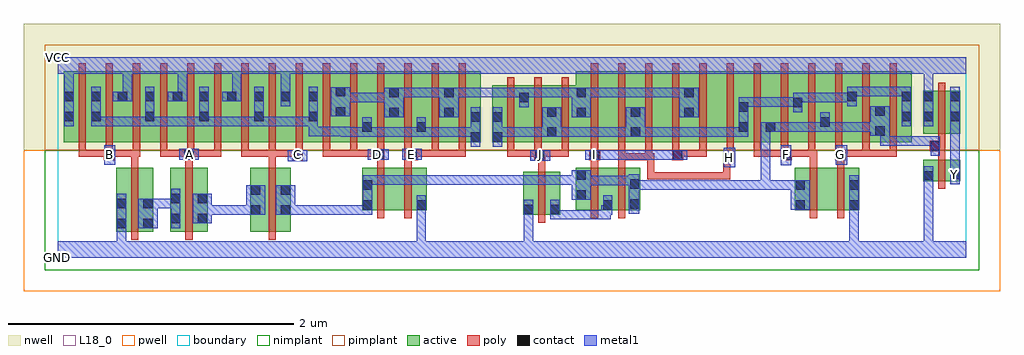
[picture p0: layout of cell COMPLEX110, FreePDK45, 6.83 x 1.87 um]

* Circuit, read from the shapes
.subckt COMPLEX110 A B C D E F G GND H I J VCC Y
M1 n1 B GND VSUBS nfet w=0.45u l=0.05u
M2 n2 A n1 VSUBS nfet w=0.45u l=0.05u
M3 n3 C n2 VSUBS nfet w=0.45u l=0.05u
M4 n4 D n3 VSUBS nfet w=0.3u l=0.05u
M5 GND E n4 VSUBS nfet w=0.3u l=0.05u
M6 n5 J GND VSUBS nfet w=0.3u l=0.05u
M7 n5 I n3 VSUBS nfet w=0.3u l=0.05u
M8 n3 H n5 VSUBS nfet w=0.3u l=0.05u
M9 n6 F n3 VSUBS nfet w=0.3u l=0.05u
M10 GND G n6 VSUBS nfet w=0.3u l=0.05u
M11 Y n3 GND VSUBS nfet w=0.15u l=0.05u
M12 n7 B VCC n8 pfet w=0.5u l=0.05u m=3
M13 VCC A n7 n8 pfet w=0.5u l=0.05u m=3
M14 n7 C VCC n8 pfet w=0.5u l=0.05u m=3
M15 n9 D n7 n8 pfet w=0.5u l=0.05u m=3
M16 n7 E n9 n8 pfet w=0.5u l=0.05u m=3
M17 n9 J n10 n8 pfet w=0.4u l=0.05u m=3
M18 n11 I n9 n8 pfet w=0.5u l=0.05u
M19 n10 H n11 n8 pfet w=0.5u l=0.05u
M20 n12 H n10 n8 pfet w=0.5u l=0.05u
M21 n9 I n12 n8 pfet w=0.5u l=0.05u
M22 n13 I n9 n8 pfet w=0.5u l=0.05u
M23 n10 H n13 n8 pfet w=0.5u l=0.05u
M24 n3 F n10 n8 pfet w=0.5u l=0.05u m=3
M25 n10 G n3 n8 pfet w=0.5u l=0.05u m=3
M26 Y n3 VCC n8 pfet w=0.3u l=0.05u
.ends

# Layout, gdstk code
import gdstk
lib = gdstk.Library(unit=1e-6, precision=1e-09)
def R(c, l, rs):  # rectangles x0, y0, x1, y1
    for r in rs: c.add(gdstk.rectangle(r[:2], r[2:], *l))
def A(c, l, x, y, w, h, nx, ny, dx, dy):  # array of equal rectangles
    R(c, l, [(x+i*dx, y+j*dy, x+i*dx+w, y+j*dy+h) for i in range(nx) for j in range(ny)])
active = (1, 0)
pwell = (2, 0)
nwell = (3, 0)
nimplant = (4, 0)
pimplant = (5, 0)
poly = (9, 0)
contact = (10, 0)
metal1 = (11, 0)
L18_0 = (18, 0)
boundary = (235, 0)

complex110 = lib.new_cell('COMPLEX110')
A(complex110, active, 0.232, 0.805, 0.26, 0.5, 4, 1, 0.57, 0)
A(complex110, active, 2.127, 0.805, 0.075, 0.265, 3, 1, 0.38, 0)
A(complex110, active, 4.382, 0.805, 0.075, 0.395, 5, 1, 0.38, 0)
A(complex110, active, 4.762, 0.805, 0.265, 0.5, 4, 1, 0.19, 0)
R(complex110, active, [(0.41,0.18,0.67,0.63), (0.41,0.18,0.485,0.63), (0.79,0.18,1.05,0.63), (1.35,0.18,1.632,0.63), (0.595,0.2,0.67,0.63), (0.79,0.2,0.865,0.63), (0.975,0.2,1.05,0.63), (1.35,0.2,1.425,0.63), (1.557,0.2,1.632,0.63), (3.257,0.3,3.517,0.6), (3.257,0.3,3.332,0.392), (3.442,0.3,3.517,0.392), (2.132,0.33,2.207,0.63), (2.132,0.33,2.357,0.63), (2.357,0.33,2.582,0.63), (2.507,0.33,2.582,0.497), (3.627,0.33,3.887,0.63), (3.812,0.33,4.077,0.63), (3.812,0.33,3.887,0.497), (4.002,0.33,4.077,0.63), (5.16,0.33,5.235,0.63), (5.16,0.33,5.385,0.63), (5.385,0.33,5.61,0.63), (5.535,0.33,5.61,0.63), (3.627,0.332,3.702,0.63), (6.057,0.535,6.317,0.685), (6.057,0.535,6.132,0.685), (6.242,0.542,6.317,0.685), (0.042,0.805,0.307,1.305), (0.042,0.805,0.117,1.305), (0.232,0.805,0.307,1.2), (0.417,0.805,0.682,1.305), (0.417,0.805,0.492,1.305), (0.607,0.805,0.682,1.2), (0.607,0.805,0.877,1.305), (0.987,0.805,1.062,1.2), (0.987,0.805,1.257,1.305), (1.182,0.805,1.447,1.305), (1.182,0.805,1.257,1.305), (1.372,0.805,1.447,1.2), (1.557,0.805,1.827,1.305), (1.557,0.805,1.632,1.305), (1.752,0.805,1.827,1.2), (1.752,0.805,2.017,1.305), (1.942,0.805,2.017,1.2), (2.127,0.805,2.392,1.305), (2.317,0.805,2.392,1.2), (2.317,0.805,2.582,1.305), (2.507,0.805,2.777,1.305), (2.702,0.805,2.777,1.2), (2.702,0.805,2.962,1.305), (3.042,0.805,3.117,1.07), (3.042,0.805,3.302,1.205), (3.227,0.805,3.302,1.2), (3.227,0.805,3.495,1.205), (3.42,0.805,3.495,1.07), (3.42,0.805,3.702,1.205), (3.627,0.805,3.852,1.305), (3.852,0.805,4.082,1.305), (4.007,0.805,4.082,1.07), (4.007,0.805,4.232,1.305), (4.232,0.805,4.457,1.305), (4.382,0.805,4.612,1.305), (4.612,0.805,4.837,1.305), (4.952,0.805,5.027,1.07), (5.332,0.805,5.407,1.07), (5.522,0.805,5.792,1.305), (5.717,0.805,5.977,1.305), (5.717,0.805,5.792,1.07), (0.802,0.807,0.877,1.305), (6.057,0.867,6.132,1.167), (6.057,0.867,6.317,1.167), (6.242,0.867,6.317,1.165), (3.627,0.907,3.702,1.2)])
R(complex110, pwell, [(-0.235,-0.235,6.595,0.75)])
R(complex110, nwell, [(-0.235,0.75,6.595,1.635)])
R(complex110, nimplant, [(-0.09,-0.09,6.45,0.75)])
R(complex110, pimplant, [(-0.09,0.75,6.45,1.49)])
A(complex110, poly, 0.147, 0.705, 0.05, 0.095, 15, 1, 0.19, 0)
A(complex110, poly, 0.907, 0.705, 0.05, 0.05, 3, 1, 0.19, 0)
A(complex110, poly, 3.147, 0.705, 0.05, 0.095, 3, 1, 0.19, 0)
A(complex110, poly, 4.872, 0.705, 0.05, 0.095, 6, 1, 0.19, 0)
A(complex110, poly, 0.147, 0.75, 0.05, 0.61, 15, 1, 0.19, 0)
A(complex110, poly, 3.147, 0.75, 0.05, 0.51, 3, 1, 0.19, 0)
A(complex110, poly, 3.732, 0.75, 0.05, 0.61, 12, 1, 0.19, 0)
R(complex110, poly, [(0.515,0.125,0.565,0.685), (0.895,0.125,0.945,0.685), (1.477,0.125,1.527,0.685), (3.362,0.245,3.412,0.655), (2.237,0.275,2.287,0.685), (2.427,0.275,2.477,0.685), (3.732,0.275,3.782,0.685), (3.922,0.275,3.972,0.685), (5.265,0.275,5.315,0.685), (5.455,0.275,5.505,0.685), (6.162,0.48,6.212,0.74), (4.127,0.547,4.177,0.597), (4.127,0.547,4.177,0.597), (4.127,0.547,4.177,0.597), (4.127,0.547,4.177,0.597), (4.127,0.547,4.177,0.597), (4.127,0.547,4.312,0.597), (4.127,0.547,4.177,0.73), (4.262,0.547,4.312,0.597), (4.262,0.547,4.522,0.597), (4.472,0.547,4.522,0.597), (4.472,0.547,4.522,0.597), (4.472,0.547,4.522,0.597), (4.472,0.547,4.707,0.597), (4.657,0.547,4.707,0.597), (4.657,0.547,4.707,0.597), (4.657,0.547,4.707,0.597), (4.657,0.547,4.707,0.712), (3.362,0.605,3.412,0.73), (0.515,0.635,0.565,0.755), (0.895,0.635,0.945,0.73), (1.477,0.635,1.527,0.755), (2.237,0.635,2.287,0.73), (2.427,0.635,2.477,0.73), (3.732,0.635,3.782,0.73), (3.922,0.635,3.972,0.73), (5.265,0.635,5.315,0.755), (5.455,0.635,5.505,0.73), (4.657,0.662,4.707,0.712), (4.657,0.662,4.707,0.712), (4.657,0.662,4.732,0.737), (0.322,0.68,0.397,0.755), (0.882,0.68,0.957,0.755), (1.642,0.68,1.717,0.755), (2.212,0.68,2.287,0.755), (2.427,0.68,2.52,0.755), (3.337,0.68,3.412,0.755), (3.722,0.68,3.797,0.755), (3.922,0.68,4.162,0.73), (3.922,0.68,3.972,0.73), (3.922,0.68,3.972,0.73), (3.922,0.68,3.972,0.73), (3.922,0.68,3.972,0.8), (4.112,0.68,4.162,0.8), (4.112,0.68,4.177,0.73), (4.302,0.68,4.377,0.755), (5.062,0.68,5.137,0.755), (5.442,0.68,5.517,0.755), (4.682,0.687,4.732,0.8), (6.162,0.69,6.212,0.792), (0.147,0.705,0.197,0.755), (0.147,0.705,0.372,0.755), (0.322,0.705,0.372,0.755), (0.322,0.705,0.372,0.755), (0.347,0.705,0.565,0.755), (0.515,0.705,0.565,0.755), (0.515,0.705,0.565,0.755), (0.515,0.705,0.577,0.755), (0.717,0.705,0.767,0.755), (0.717,0.705,0.767,0.755), (0.717,0.705,0.767,0.755), (0.717,0.705,0.932,0.755), (0.907,0.705,1.147,0.755), (0.907,0.705,0.957,0.755), (1.287,0.705,1.527,0.755), (1.287,0.705,1.337,0.755), (1.287,0.705,1.337,0.755), (1.477,0.705,1.527,0.755), (1.477,0.705,1.527,0.755), (1.477,0.705,1.527,0.755), (1.477,0.705,1.692,0.755), (1.857,0.705,2.097,0.755), (1.857,0.705,1.907,0.755), (1.857,0.705,1.907,0.755), (1.857,0.705,1.907,0.755), (2.047,0.705,2.097,0.755), (2.047,0.705,2.262,0.755), (2.212,0.705,2.262,0.755), (2.212,0.705,2.262,0.755), (2.47,0.705,2.52,0.755), (2.47,0.705,2.52,0.755), (2.47,0.705,2.667,0.755), (2.617,0.705,2.857,0.755), (2.617,0.705,2.667,0.755), (2.617,0.705,2.667,0.755), (2.617,0.705,2.667,0.755), (2.807,0.705,2.857,0.755), (3.147,0.705,3.387,0.755), (3.147,0.705,3.197,0.755), (3.337,0.705,3.387,0.755), (3.337,0.705,3.387,0.755), (3.362,0.705,3.577,0.755), (3.527,0.705,3.577,0.755), (3.527,0.705,3.577,0.755), (3.527,0.705,3.577,0.755), (3.732,0.705,3.782,0.8), (4.302,0.705,4.352,0.8), (4.327,0.705,4.377,0.755), (4.327,0.705,4.377,0.755), (4.327,0.705,4.542,0.755), (4.492,0.705,4.542,0.8), (4.492,0.705,4.542,0.755), (4.872,0.705,5.112,0.755), (4.872,0.705,4.922,0.755), (4.872,0.705,4.922,0.755), (4.872,0.705,4.922,0.755), (5.087,0.705,5.302,0.755), (5.252,0.705,5.302,0.755), (5.252,0.705,5.302,0.755), (5.252,0.705,5.315,0.755), (5.467,0.705,5.517,0.755), (5.467,0.705,5.517,0.755), (5.467,0.705,5.682,0.755), (5.632,0.705,5.872,0.755), (5.632,0.705,5.682,0.755), (5.632,0.705,5.682,0.755), (5.632,0.705,5.682,0.755), (5.822,0.705,5.872,0.755), (6.105,0.742,6.212,0.817), (6.162,0.767,6.212,0.862), (6.162,0.812,6.212,1.222)])
R(complex110, contact, [(0.415,0.205,0.48,0.27), (0.6,0.205,0.665,0.27), (0.795,0.24,0.86,0.305), (0.98,0.24,1.045,0.305), (1.355,0.3,1.42,0.365), (1.562,0.3,1.627,0.365), (3.262,0.305,3.327,0.37), (3.447,0.305,3.512,0.37), (2.137,0.335,2.202,0.4), (2.512,0.335,2.577,0.4), (3.817,0.335,3.882,0.4), (5.165,0.335,5.23,0.4), (5.54,0.335,5.605,0.4), (4.007,0.342,4.072,0.407), (0.415,0.345,0.48,0.41), (0.6,0.345,0.665,0.41), (0.795,0.38,0.86,0.445), (0.98,0.38,1.045,0.445), (3.632,0.405,3.697,0.47), (1.355,0.44,1.42,0.505), (1.562,0.44,1.627,0.505), (2.137,0.475,2.202,0.54), (5.165,0.475,5.23,0.54), (5.54,0.475,5.605,0.54), (4.007,0.482,4.072,0.547), (6.062,0.54,6.127,0.605), (3.632,0.545,3.697,0.61), (6.247,0.547,6.312,0.612), (4.662,0.667,4.727,0.732), (0.327,0.685,0.392,0.75), (0.887,0.685,0.952,0.75), (1.647,0.685,1.712,0.75), (2.217,0.685,2.282,0.75), (2.447,0.685,2.512,0.75), (3.342,0.685,3.407,0.75), (3.727,0.685,3.792,0.75), (4.307,0.685,4.372,0.75), (5.067,0.685,5.132,0.75), (5.447,0.685,5.512,0.75), (6.11,0.747,6.175,0.812), (2.892,0.81,2.957,0.875), (3.047,0.81,3.112,0.875), (3.425,0.845,3.49,0.91), (4.012,0.845,4.077,0.91), (5.722,0.852,5.787,0.917), (2.132,0.88,2.197,0.945), (2.512,0.88,2.577,0.945), (4.767,0.88,4.832,0.945), (4.957,0.88,5.022,0.945), (5.337,0.915,5.402,0.98), (2.892,0.95,2.957,1.015), (3.047,0.95,3.112,1.015), (0.047,0.955,0.112,1.02), (0.237,0.955,0.302,1.02), (0.612,0.955,0.677,1.02), (0.992,0.955,1.057,1.02), (1.377,0.955,1.442,1.02), (1.757,0.955,1.822,1.02), (5.907,0.955,5.972,1.02), (6.062,0.955,6.127,1.02), (6.247,0.955,6.312,1.02), (2.322,0.982,2.387,1.047), (2.707,0.982,2.772,1.047), (3.632,0.982,3.697,1.047), (4.387,0.982,4.452,1.047), (3.425,0.985,3.49,1.05), (4.012,0.985,4.077,1.05), (1.947,0.987,2.012,1.052), (5.722,0.992,5.787,1.057), (4.767,1.02,4.832,1.085), (5.147,1.052,5.212,1.117), (3.232,1.087,3.297,1.152), (0.047,1.095,0.112,1.16), (0.237,1.095,0.302,1.16), (0.422,1.095,0.487,1.16), (0.612,1.095,0.677,1.16), (0.807,1.095,0.872,1.16), (0.992,1.095,1.057,1.16), (1.187,1.095,1.252,1.16), (1.377,1.095,1.442,1.16), (1.562,1.095,1.627,1.16), (1.757,1.095,1.822,1.16), (5.527,1.095,5.592,1.16), (5.907,1.095,5.972,1.16), (6.062,1.095,6.127,1.16), (6.247,1.095,6.312,1.16), (2.322,1.122,2.387,1.187), (2.707,1.122,2.772,1.187), (3.632,1.122,3.697,1.187), (4.387,1.122,4.452,1.187), (1.947,1.127,2.012,1.192)])
R(complex110, metal1, [(0,0,6.36,0.115), (0.415,0.05,0.48,0.235), (2.512,0.05,2.577,0.115), (2.512,0.05,2.577,0.115), (2.512,0.05,2.577,0.115), (2.512,0.05,2.577,0.115), (2.512,0.05,2.577,0.365), (3.262,0.05,3.327,0.115), (3.262,0.05,3.327,0.115), (3.262,0.05,3.327,0.115), (3.262,0.05,3.327,0.115), (3.262,0.05,3.327,0.335), (5.54,0.05,5.605,0.365), (6.062,0.05,6.127,0.115), (6.062,0.05,6.127,0.115), (6.062,0.05,6.127,0.57), (0.415,0.17,0.48,0.445), (0.415,0.17,0.48,0.235), (0.415,0.17,0.48,0.235), (0.565,0.205,0.7,0.41), (0.795,0.205,0.86,0.48), (0.945,0.24,1.08,0.445), (3.447,0.267,3.512,0.332), (3.447,0.267,3.512,0.332), (3.447,0.267,3.732,0.332), (3.447,0.267,3.512,0.405), (3.667,0.267,3.732,0.332), (3.667,0.267,3.87,0.332), (3.805,0.267,3.87,0.365), (3.262,0.27,3.327,0.405), (1.015,0.3,1.08,0.365), (1.015,0.3,1.08,0.365), (1.015,0.3,1.247,0.365), (1.182,0.3,1.247,0.365), (1.182,0.3,1.247,0.365), (1.182,0.3,1.247,0.365), (1.182,0.3,1.385,0.365), (1.32,0.3,1.455,0.505), (1.527,0.3,1.662,0.505), (1.597,0.3,1.662,0.365), (1.597,0.3,1.662,0.365), (1.597,0.3,1.8,0.365), (1.735,0.3,1.8,0.365), (1.735,0.3,1.8,0.365), (1.735,0.3,1.8,0.365), (1.735,0.3,1.965,0.365), (1.9,0.3,1.965,0.365), (1.9,0.3,1.965,0.365), (1.9,0.3,1.965,0.365), (1.9,0.3,2.202,0.365), (2.137,0.3,2.202,0.575), (2.512,0.3,2.577,0.435), (3.805,0.3,3.882,0.365), (3.817,0.3,3.882,0.435), (5.54,0.3,5.605,0.575), (5.54,0.3,5.605,0.365), (5.54,0.3,5.605,0.365), (5.54,0.3,5.605,0.365), (5.54,0.3,5.605,0.365), (3.997,0.307,4.072,0.582), (5.13,0.335,5.265,0.54), (0.635,0.345,0.7,0.41), (0.635,0.345,0.7,0.41), (0.635,0.345,0.86,0.41), (3.597,0.405,3.732,0.61), (4.007,0.475,4.2,0.54), (4.135,0.475,4.2,0.54), (4.135,0.475,4.28,0.54), (4.215,0.475,4.28,0.54), (4.215,0.475,4.337,0.54), (4.272,0.475,4.337,0.54), (4.272,0.475,4.475,0.54), (4.41,0.475,4.475,0.54), (4.41,0.475,4.475,0.54), (4.41,0.475,4.475,0.54), (4.41,0.475,4.695,0.54), (4.63,0.475,4.695,0.54), (4.63,0.475,4.695,0.54), (4.63,0.475,4.695,0.54), (4.63,0.475,4.832,0.54), (4.767,0.475,4.832,0.54), (4.767,0.475,4.832,0.54), (4.767,0.475,4.832,0.54), (4.767,0.475,4.987,0.54), (4.922,0.475,4.987,0.54), (4.922,0.475,4.987,0.54), (4.922,0.475,4.987,0.54), (4.922,0.475,4.987,0.54), (4.922,0.475,4.987,0.54), (4.922,0.475,4.987,0.54), (4.922,0.475,4.987,0.54), (4.922,0.475,5.195,0.54), (4.922,0.475,4.987,0.945), (6.062,0.505,6.127,0.57), (6.062,0.505,6.127,0.57), (6.062,0.505,6.127,0.57), (6.062,0.505,6.127,0.57), (6.062,0.505,6.127,0.64), (3.667,0.507,3.732,0.572), (3.667,0.507,3.732,0.572), (3.667,0.507,3.87,0.572), (3.805,0.507,3.87,0.572), (3.805,0.507,4.062,0.572), (3.997,0.507,4.062,0.572), (3.997,0.507,4.062,0.572), (2.137,0.51,2.202,0.575), (2.137,0.51,2.202,0.575), (2.137,0.51,2.422,0.575), (2.357,0.51,2.422,0.575), (2.357,0.51,2.422,0.575), (2.357,0.51,2.422,0.575), (2.357,0.51,2.56,0.575), (2.495,0.51,2.56,0.575), (2.495,0.51,2.807,0.575), (2.742,0.51,2.807,0.575), (2.742,0.51,2.807,0.575), (2.742,0.51,2.807,0.575), (2.742,0.51,2.807,0.575), (2.742,0.51,2.807,0.575), (2.742,0.51,2.945,0.575), (2.88,0.51,2.945,0.575), (2.88,0.51,2.945,0.575), (2.88,0.51,2.945,0.575), (2.88,0.51,3.16,0.575), (3.095,0.51,3.16,0.575), (3.095,0.51,3.16,0.575), (3.095,0.51,3.16,0.575), (3.095,0.51,3.317,0.575), (3.252,0.51,3.317,0.575), (3.252,0.51,3.317,0.575), (3.252,0.51,3.317,0.575), (3.252,0.51,3.525,0.575), (3.46,0.51,3.525,0.575), (3.46,0.51,3.525,0.575), (3.46,0.51,3.525,0.575), (3.46,0.51,3.662,0.575), (6.247,0.512,6.312,0.647), (6.247,0.582,6.312,0.985), (6.247,0.582,6.312,0.647), (6.247,0.582,6.312,0.647), (4.662,0.632,4.742,0.767), (5.06,0.647,5.135,0.787), (0.325,0.65,0.402,0.787), (5.447,0.65,5.525,0.787), (1.612,0.675,1.747,0.752), (3.307,0.677,3.447,0.752), (0.852,0.685,0.987,0.762), (2.172,0.685,2.317,0.757), (2.412,0.685,2.547,0.762), (3.692,0.685,3.827,0.752), (3.762,0.685,3.87,0.75), (3.805,0.685,3.87,0.75), (3.805,0.685,4.007,0.75), (3.942,0.685,4.007,0.75), (3.942,0.685,4.007,0.75), (3.942,0.685,4.007,0.75), (3.942,0.685,4.2,0.75), (4.135,0.685,4.2,0.75), (4.135,0.685,4.28,0.75), (4.215,0.685,4.28,0.75), (4.215,0.685,4.337,0.75), (4.272,0.685,4.407,0.75), (6.11,0.712,6.175,0.847), (2.892,0.775,2.957,1.05), (3.047,0.775,3.112,1.05), (5.757,0.782,5.822,0.847), (5.757,0.782,5.822,0.917), (5.757,0.782,5.99,0.847), (5.925,0.782,5.99,0.847), (5.925,0.782,5.99,0.847), (5.925,0.782,5.99,0.847), (5.925,0.782,6.175,0.847), (6.11,0.782,6.175,0.847), (6.11,0.782,6.175,0.847), (1.982,0.845,2.047,0.91), (1.982,0.845,2.047,0.91), (1.982,0.845,2.197,0.91), (1.982,0.845,2.047,0.915), (2.132,0.845,2.197,0.91), (2.132,0.845,2.197,0.91), (2.132,0.845,2.197,0.98), (2.132,0.845,2.422,0.91), (2.357,0.845,2.422,0.91), (2.357,0.845,2.577,0.91), (2.512,0.845,2.577,0.91), (2.512,0.845,2.577,0.91), (2.512,0.845,2.577,0.98), (2.512,0.845,2.807,0.91), (2.742,0.845,2.807,0.91), (2.742,0.845,2.807,0.91), (2.742,0.845,2.807,0.91), (2.742,0.845,2.957,0.91), (2.892,0.845,2.957,0.91), (2.892,0.845,2.957,0.91), (3.047,0.845,3.112,0.91), (3.047,0.845,3.112,0.91), (3.047,0.845,3.297,0.91), (3.232,0.845,3.297,0.91), (3.232,0.845,3.297,0.91), (3.232,0.845,3.297,0.91), (3.232,0.845,3.455,0.91), (3.39,0.845,3.525,1.05), (3.46,0.845,3.525,0.91), (3.46,0.845,3.525,0.91), (3.46,0.845,3.732,0.91), (3.667,0.845,3.732,0.91), (3.667,0.845,3.732,0.91), (3.667,0.845,3.732,0.91), (3.667,0.845,3.87,0.91), (3.805,0.845,3.87,0.91), (3.805,0.845,4.042,0.91), (3.977,0.845,4.042,0.91), (3.977,0.845,4.042,0.91), (3.977,0.845,4.112,1.05), (4.047,0.845,4.2,0.91), (4.135,0.845,4.2,0.91), (4.135,0.845,4.28,0.91), (4.215,0.845,4.28,0.91), (4.215,0.845,4.337,0.91), (4.272,0.845,4.337,0.91), (4.272,0.845,4.557,0.91), (4.492,0.845,4.557,0.91), (4.492,0.845,4.557,0.91), (4.492,0.845,4.557,0.91), (4.492,0.845,4.695,0.91), (4.63,0.845,4.695,0.91), (4.63,0.845,4.695,0.91), (4.63,0.845,4.695,0.91), (4.63,0.845,4.832,0.91), (4.767,0.845,4.832,1.12), (1.757,0.85,1.822,0.915), (1.757,0.85,1.822,0.915), (1.757,0.85,1.822,0.915), (1.757,0.85,1.822,0.985), (1.757,0.85,2.047,0.915), (5.687,0.852,5.822,1.057), (4.922,0.88,5.057,0.945), (4.992,0.88,5.237,0.945), (5.172,0.88,5.237,0.945), (5.172,0.88,5.237,0.945), (5.172,0.88,5.237,0.945), (5.172,0.88,5.375,0.945), (5.31,0.88,5.375,0.945), (5.31,0.88,5.402,0.945), (5.337,0.88,5.402,1.015), (5.337,0.88,5.602,0.945), (5.537,0.88,5.602,0.945), (5.537,0.88,5.602,0.945), (5.537,0.88,5.602,0.945), (5.537,0.88,5.752,0.945), (5.687,0.88,5.752,0.945), (5.687,0.88,5.752,0.945), (0.047,0.92,0.112,1.195), (0.237,0.92,0.302,1.195), (0.237,0.92,0.302,0.985), (0.237,0.92,0.302,0.985), (0.237,0.92,0.44,0.985), (0.375,0.92,0.44,0.985), (0.375,0.92,0.44,0.985), (0.375,0.92,0.44,0.985), (0.375,0.92,0.677,0.985), (0.612,0.92,0.677,1.195), (0.612,0.92,0.677,0.985), (0.612,0.92,0.677,0.985), (0.612,0.92,0.837,0.985), (0.772,0.92,0.837,0.985), (0.772,0.92,0.837,0.985), (0.772,0.92,0.837,0.985), (0.772,0.92,1.057,0.985), (0.992,0.92,1.057,1.195), (0.992,0.92,1.057,0.985), (0.992,0.92,1.057,0.985), (0.992,0.92,1.247,0.985), (1.182,0.92,1.247,0.985), (1.182,0.92,1.247,0.985), (1.182,0.92,1.247,0.985), (1.182,0.92,1.442,0.985), (1.377,0.92,1.442,1.195), (1.377,0.92,1.442,0.985), (1.377,0.92,1.442,0.985), (1.377,0.92,1.592,0.985), (1.527,0.92,1.592,0.985), (1.527,0.92,1.592,0.985), (1.527,0.92,1.592,0.985), (1.527,0.92,1.822,0.985), (1.757,0.92,1.822,1.195), (5.907,0.92,5.972,1.195), (6.062,0.92,6.127,1.195), (6.247,0.92,6.312,1.195), (2.287,0.982,2.422,1.187), (2.672,0.982,2.807,1.187), (3.597,0.982,3.732,1.187), (4.352,0.982,4.487,1.187), (1.912,0.987,2.047,1.192), (5.147,1.017,5.212,1.152), (3.232,1.052,3.297,1.187), (4.767,1.055,4.832,1.12), (4.767,1.055,4.832,1.12), (4.767,1.055,4.832,1.12), (4.767,1.055,4.832,1.12), (4.767,1.055,4.97,1.12), (4.905,1.055,4.97,1.12), (4.905,1.055,5.212,1.12), (5.147,1.055,5.212,1.12), (5.147,1.055,5.212,1.12), (1.562,1.06,1.627,1.195), (5.527,1.06,5.592,1.195), (1.982,1.087,2.047,1.152), (1.982,1.087,2.047,1.152), (1.982,1.087,2.202,1.152), (2.137,1.087,2.202,1.152), (2.137,1.087,2.202,1.152), (2.137,1.087,2.202,1.152), (2.137,1.087,2.352,1.152), (5.147,1.087,5.375,1.152), (5.31,1.087,5.375,1.152), (5.31,1.087,5.375,1.152), (5.31,1.087,5.375,1.152), (5.31,1.087,5.592,1.152), (5.527,1.087,5.592,1.152), (5.527,1.087,5.592,1.152), (0.387,1.095,0.522,1.16), (0.457,1.095,0.522,1.35), (0.772,1.095,0.907,1.16), (0.842,1.095,0.907,1.35), (1.152,1.095,1.287,1.16), (1.222,1.095,1.287,1.35), (2.357,1.122,2.422,1.187), (2.357,1.122,2.422,1.187), (2.357,1.122,2.6,1.187), (2.535,1.122,2.6,1.187), (2.535,1.122,2.737,1.187), (2.672,1.122,2.737,1.187), (2.672,1.122,2.737,1.187), (2.742,1.122,2.945,1.187), (2.88,1.122,2.945,1.187), (2.88,1.122,2.945,1.187), (2.88,1.122,2.945,1.187), (2.88,1.122,3.16,1.187), (3.095,1.122,3.16,1.187), (3.095,1.122,3.16,1.187), (3.095,1.122,3.16,1.187), (3.095,1.122,3.297,1.187), (3.232,1.122,3.297,1.187), (3.232,1.122,3.297,1.187), (3.232,1.122,3.525,1.187), (3.46,1.122,3.525,1.187), (3.46,1.122,3.525,1.187), (3.46,1.122,3.525,1.187), (3.46,1.122,3.662,1.187), (3.667,1.122,3.87,1.187), (3.805,1.122,3.87,1.187), (3.805,1.122,3.87,1.187), (3.805,1.122,3.87,1.187), (3.805,1.122,4.007,1.187), (3.942,1.122,4.007,1.187), (3.942,1.122,4.007,1.187), (3.942,1.122,4.007,1.187), (3.942,1.122,4.2,1.187), (4.135,1.122,4.2,1.187), (4.135,1.122,4.28,1.187), (4.215,1.122,4.28,1.187), (4.215,1.122,4.337,1.187), (4.272,1.122,4.337,1.187), (4.272,1.122,4.417,1.187), (0.047,1.13,0.112,1.35), (1.562,1.13,1.627,1.35), (5.527,1.13,5.592,1.195), (5.527,1.13,5.592,1.195), (5.527,1.13,5.74,1.195), (5.675,1.13,5.74,1.195), (5.675,1.13,5.74,1.195), (5.675,1.13,5.74,1.195), (5.675,1.13,5.972,1.195), (5.907,1.13,5.972,1.195), (5.907,1.13,5.972,1.195), (6.062,1.13,6.127,1.195), (6.062,1.13,6.127,1.195), (6.062,1.13,6.127,1.35), (0,1.285,6.36,1.4)])
R(complex110, L18_0, [(0,0,6.36,0.115), (0.415,0.05,0.48,0.235), (2.512,0.05,2.577,0.115), (2.512,0.05,2.577,0.115), (2.512,0.05,2.577,0.115), (2.512,0.05,2.577,0.115), (2.512,0.05,2.577,0.365), (3.262,0.05,3.327,0.115), (3.262,0.05,3.327,0.115), (3.262,0.05,3.327,0.115), (3.262,0.05,3.327,0.115), (3.262,0.05,3.327,0.335), (5.54,0.05,5.605,0.365), (6.062,0.05,6.127,0.115), (6.062,0.05,6.127,0.115), (6.062,0.05,6.127,0.57), (0.415,0.17,0.48,0.445), (0.415,0.17,0.48,0.235), (0.415,0.17,0.48,0.235), (3.262,0.27,3.327,0.405), (2.512,0.3,2.577,0.435), (5.54,0.3,5.605,0.575), (5.54,0.3,5.605,0.365), (5.54,0.3,5.605,0.365), (5.54,0.3,5.605,0.365), (5.54,0.3,5.605,0.365), (6.062,0.505,6.127,0.57), (6.062,0.505,6.127,0.57), (6.062,0.505,6.127,0.57), (6.062,0.505,6.127,0.57), (6.062,0.505,6.127,0.64), (6.247,0.512,6.312,0.647), (6.247,0.547,6.312,0.612), (6.247,0.582,6.312,0.647), (6.247,0.582,6.312,0.647), (6.247,0.582,6.312,0.985), (4.662,0.632,4.742,0.767), (5.06,0.647,5.135,0.787), (0.325,0.65,0.402,0.787), (5.447,0.65,5.525,0.787), (4.667,0.667,4.732,0.732), (1.612,0.675,1.747,0.752), (3.307,0.677,3.447,0.752), (0.852,0.685,0.987,0.762), (2.172,0.685,2.317,0.757), (2.412,0.685,2.547,0.762), (3.692,0.685,3.827,0.752), (3.762,0.685,3.87,0.75), (3.805,0.685,3.87,0.75), (3.805,0.685,4.007,0.75), (3.942,0.685,4.007,0.75), (3.942,0.685,4.007,0.75), (3.942,0.685,4.007,0.75), (3.942,0.685,4.2,0.75), (4.135,0.685,4.2,0.75), (4.135,0.685,4.28,0.75), (4.215,0.685,4.28,0.75), (4.215,0.685,4.337,0.75), (4.272,0.685,4.407,0.75), (0.327,0.687,0.392,0.752), (0.887,0.687,0.952,0.752), (1.647,0.687,1.712,0.752), (2.207,0.687,2.272,0.752), (2.447,0.687,2.512,0.752), (3.347,0.687,3.412,0.752), (3.727,0.687,3.792,0.752), (5.067,0.687,5.132,0.752), (5.447,0.687,5.512,0.752), (0.047,0.92,0.112,1.195), (6.062,0.92,6.127,1.195), (6.247,0.92,6.312,1.195), (1.562,1.06,1.627,1.195), (0.387,1.095,0.522,1.16), (0.457,1.095,0.522,1.35), (0.772,1.095,0.907,1.16), (0.842,1.095,0.907,1.35), (1.152,1.095,1.287,1.16), (1.222,1.095,1.287,1.35), (0.047,1.13,0.112,1.35), (1.562,1.13,1.627,1.35), (6.062,1.13,6.127,1.35), (6.062,1.13,6.127,1.195), (6.062,1.13,6.127,1.195), (0,1.285,6.36,1.4)])
R(complex110, boundary, [(0,0,6.36,1.4)])
complex110.add(gdstk.Label('A', (0.92,0.72), layer=11, texttype=0))
complex110.add(gdstk.Label('B', (0.36,0.72), layer=11, texttype=0))
complex110.add(gdstk.Label('C', (1.68,0.72), layer=11, texttype=0))
complex110.add(gdstk.Label('D', (2.24,0.72), layer=11, texttype=0))
complex110.add(gdstk.Label('E', (2.48,0.72), layer=11, texttype=0))
complex110.add(gdstk.Label('F', (5.1,0.72), layer=11, texttype=0))
complex110.add(gdstk.Label('G', (5.48,0.72), layer=11, texttype=0))
complex110.add(gdstk.Label('H', (4.7,0.7), layer=11, texttype=0))
complex110.add(gdstk.Label('I', (3.76,0.72), layer=11, texttype=0))
complex110.add(gdstk.Label('J', (3.38,0.72), layer=11, texttype=0))
complex110.add(gdstk.Label('Y', (6.28,0.58), layer=11, texttype=0))
complex110.add(gdstk.Label('VCC', (0,1.4), layer=11, texttype=0))
complex110.add(gdstk.Label('GND', (0,0), layer=11, texttype=0))

lib.write_gds('COMPLEX110.gds')
